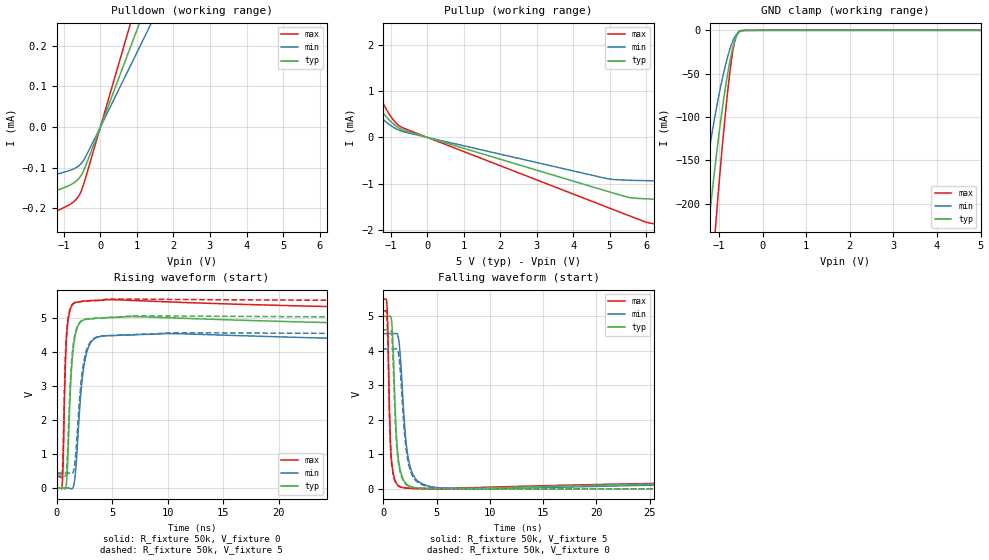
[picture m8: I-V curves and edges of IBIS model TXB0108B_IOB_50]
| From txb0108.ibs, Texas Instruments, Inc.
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[Model]   TXB0108B_IOB_50
Model_type  I/O
Enable   Active-High
Vref =   0
Rref =   1e6
Cref =   15p
Vmeas =   2.5
Vinl=1.575
Vinh=3.575
| variable   typ   min   max
C_comp   8.98pF   7.57pF   10.26pF
| C_pullup   8.88pF   7.53pF   10.35pF
| C_pulldown   18.85pF   6.52pF   38.13pF
| C_tri-state   8.98pF   7.57pF   10.26pF
[Temperature Range]   40   100   -40
| Ambient temperature   25   85   -40
[Voltage range]   5   4.5   5.5
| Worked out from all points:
|   slope of the pulldown table from 0 to 0.75 V, typ, clamps not added: 4.19 kohm
|   slope of the pullup table from 0 to 0.75 V, typ, clamps not added: 4.22 kohm
|   GND clamp passes 1 mA (typ) near -0.50 V on its own axis
|   rising waveform, R_fixture 50k, V_fixture 0: 20-80 % time 367ps typ, 536ps min, 237ps max; typ from 0 V to 4.61 V
|   falling waveform, R_fixture 50k, V_fixture 5: 20-80 % time 362ps typ, 542ps min, 235ps max; typ from 5 V to 0.384 V
|   rising waveform, R_fixture 50k, V_fixture 5: 20-80 % time 430ps typ, 649ps min, 269ps max; typ from 0.386 V to 5 V
|   falling waveform, R_fixture 50k, V_fixture 0: 20-80 % time 428ps typ, 669ps min, 266ps max; typ from 4.61 V to 0 V
[GND Clamp]
| TXB0108B_IOB_50
|   Voltage   I(typ)   I(min)   I(max)
-5V       -2.741A    -2.064A    -3.46A
-1.475V   -346.7mA   -224.3mA   -504.1mA
-1.27V    -240.3mA   -152.8mA   -354.8mA
-1.225V   -218.4mA   -138.4mA   -323.5mA
-1.085V   -154.7mA   -96.78mA   -230.3mA
-1.065V   -146.2mA   -91.27mA   -217.6mA
-900mV    -82.07mA   -50.39mA   -120.5mA
-815mV    -54.17mA   -32.93mA   -77.09mA
-730mV    -30.7mA    -18.59mA   -39.96mA
-625mV    -10.08mA   -6.469mA   -9.857mA
-510mV    -1.202mA   -991.1uA   -608.2uA
5V        1.008nA    4.003nA    152.3pA
[Pulldown]
| TXB0108B_IOB_50
|   Voltage   I(typ)   I(min)   I(max)
-5V       -212uA     -161uA     -276uA
-3.835V   -198uA     -151uA     -260uA
-2.985V   -188uA     -141.1uA   -247uA
-2.115V   -174.2uA   -130.5uA   -231uA
-1.125V   -153.4uA   -114.2uA   -203.5uA
-830mV    -142.6uA   -106.4uA   -190.1uA
-720mV    -136.7uA   -102.3uA   -182.8uA
-575mV    -124.9uA   -94.09uA   -167uA
-515mV    -117.2uA   -88.7uA    -155.6uA
-430mV    -101.7uA   -77.55uA   -132.8uA
0V        0A         0A         0A
10V       2.389mA    1.834mA    3.094mA
[Pullup]
| TXB0108B_IOB_50
|   Voltage   I(typ)   I(min)   I(max)
-5V       12.31mA    5.477mA    21.94mA
-2.505V   3.801mA    2.537mA    5.629mA
-2.445V   3.513mA    2.357mA    5.14mA
-2.19V    2.411mA    1.68mA     3.408mA
-1.965V   1.694mA    1.213mA    2.435mA
-1.66V    1.099mA    787.6uA    1.623mA
-1.215V   538.3uA    393.5uA    752.7uA
-930mV    294uA      222.4uA    379.2uA
-665mV    162.3uA    125.7uA    206.2uA
4.915V    -1.164mA   -892.7uA   -1.509mA
6V        -1.331mA   -937uA     -1.84mA
10V       -1.385mA   -973uA     -1.947mA
[Ramp]
| TXB0108B_IOB_50
| variable   typ   min   max
dV/dt_r   3.05/4.54E-10   2.74/6.83E-10   3.35/2.84E-10
dV/dt_f   3.01/4.39E-10   2.71/6.86E-10   3.31/2.72E-10
R_load = 50k
[Rising Waveform]
| TXB0108B_IOB_50
R_fixture =   50k
C_fixture =   0
L_fixture =   0
V_fixture =   0
V_fixture_min = 0
V_fixture_max = 0
|   Time   V(typ)   V(min)   V(max)
0s        221.3nV    1.663uV    67.5nV
533ps     604.4uV    61.42uV    187.7mV
797ps     -23.41mV   157.9uV    3.673V
1.061ns   1.276V     1.883mV    4.968V
1.281ns   3.119V     -17.54mV   5.301V
1.545ns   4.209V     77.51mV    5.437V
2.557ns   4.964V     3.764V     5.511V
3.745ns   5.007V     4.449V     5.525V
10.04ns   5.017V     4.55V      5.483V
218.2ns   4.612V     4.058V     5.164V
[Falling Waveform]
| TXB0108B_IOB_50
R_fixture =   50k
C_fixture =   0
L_fixture =   0
V_fixture =   5
V_fixture_min = 4.5
V_fixture_max = 5.5
|   Time   V(typ)   V(min)   V(max)
0s        5V         4.5V       5.5V
357ps     5V         4.5V       5.189V
621ps     5.005V     4.5V       1.708V
841ps     4.558V     4.499V     606.5mV
1.325ns   1.093V     4.477V     107.7mV
1.545ns   587.8mV    4.011V     54.82mV
2.161ns   132.3mV    1.259V     12.6mV
3.261ns   16mV       209.7mV    -1.233mV
7.221ns   -4.578mV   1.991mV    14.64mV
218.2ns   384mV      434.4mV    333.4mV
[Rising Waveform]
| TXB0108B_IOB_50
R_fixture =   50k
C_fixture =   0
L_fixture =   0
V_fixture =   5
V_fixture_min = 4.5
V_fixture_max = 5.5
|   Time   V(typ)   V(min)   V(max)
0s        386.1mV    442.3mV    333.9mV
533ps     386.8mV    442.4mV    523.8mV
841ps     406mV      442.4mV    4.22V
1.193ns   2.789V     437.6mV    5.247V
1.413ns   3.96V      423.7mV    5.407V
1.677ns   4.56V      818.5mV    5.468V
2.205ns   4.919V     3.12V      5.494V
2.645ns   4.977V     4.003V     5.512V
4.493ns   5.024V     4.49V      5.56V
218.2ns   5V         4.501V     5.5V
[Falling Waveform]
| TXB0108B_IOB_50
R_fixture =   50k
C_fixture =   0
L_fixture =   0
V_fixture =   0
V_fixture_min = 0
V_fixture_max = 0
|   Time   V(typ)   V(min)   V(max)
0s        4.611V     4.054V     5.164V
357ps     4.611V     4.054V     4.858V
621ps     4.616V     4.054V     1.518V
797ps     4.393V     4.054V     643.3mV
1.149ns   1.739V     4.06V      173.8mV
1.325ns   958.4mV    4.032V     95.77mV
2.117ns   122.4mV    1.179V     11.16mV
3.173ns   13.47mV    190.4mV    -1.674mV
7.001ns   -13.21mV   -1.172mV   -14.73mV
218.2ns   -112uV     -426.5uV   -19.14uV
